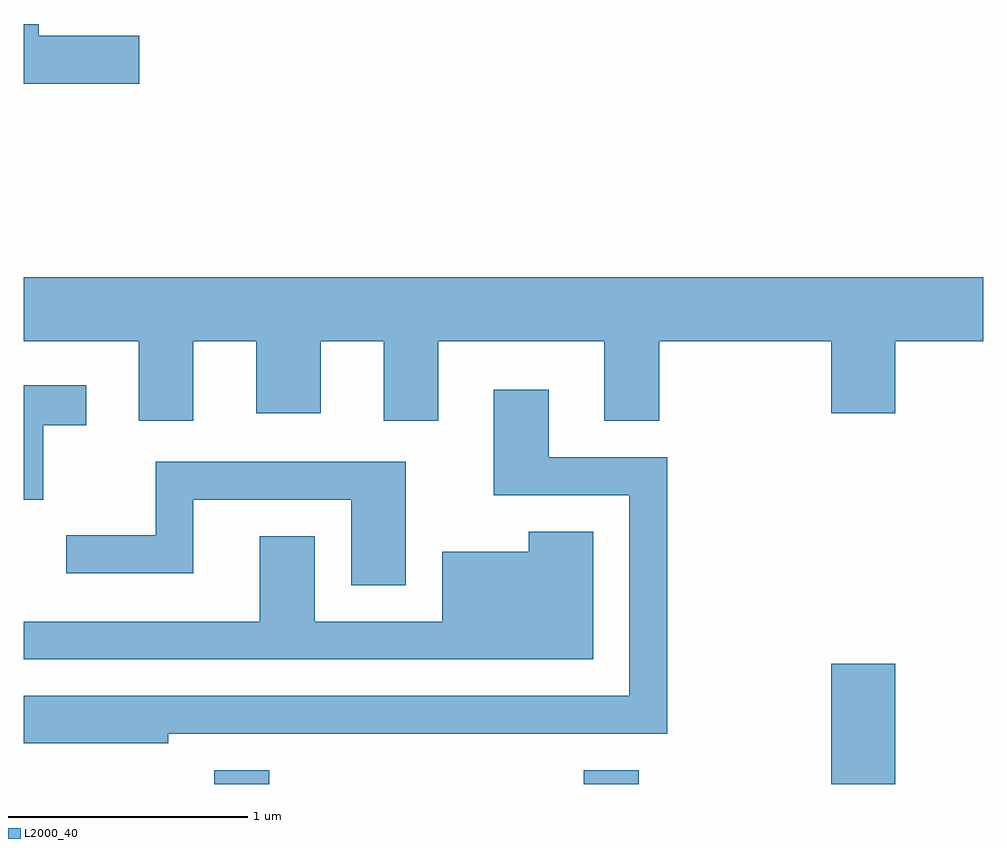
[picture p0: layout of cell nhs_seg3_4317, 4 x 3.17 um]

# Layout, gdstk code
import gdstk
lib = gdstk.Library(unit=1e-6, precision=1e-09)
def R(c, l, rs):  # rectangles x0, y0, x1, y1
    for r in rs: c.add(gdstk.rectangle(r[:2], r[2:], *l))
def P(c, l, *ps):  # polygons
    for p in ps: c.add(gdstk.Polygon(p, *l))
L2000_40 = (2000, 40)

nhs_seg3_4317 = lib.new_cell('nhs_seg3_4317')
R(nhs_seg3_4317, L2000_40, [(312.406,1181.892,312.634,1181.949), (313.946,1181.892,314.174,1181.949), (314.976,1181.892,315.244,1182.394)])
P(nhs_seg3_4317, L2000_40, [(312.094,1185.009),(311.674,1185.009),(311.674,1185.059),(311.611,1185.059),(311.611,1184.811),(312.094,1184.811)],
  [(312.319,1183.736),(312.581,1183.736),(312.581,1183.436),(312.849,1183.436),(312.849,1183.736),(313.111,1183.736),(313.111,1183.406),(313.339,1183.406),(313.339,1183.736),(314.031,1183.736),(314.031,1183.406),(314.259,1183.406),(314.259,1183.736),(314.976,1183.736),(314.976,1183.436),(315.244,1183.436),(315.244,1183.736),(315.611,1183.736),(315.611,1184.004),(311.611,1184.004),(311.611,1183.736),(312.091,1183.736),(312.091,1183.406),(312.319,1183.406)],
  [(311.694,1183.386),(311.873,1183.386),(311.873,1183.554),(311.611,1183.554),(311.611,1183.076),(311.694,1183.076)],
  [(312.214,1182.101),(314.294,1182.101),(314.294,1183.254),(313.799,1183.254),(313.799,1183.534),(313.571,1183.534),(313.571,1183.096),(314.136,1183.096),(314.136,1182.259),(311.611,1182.259),(311.611,1182.061),(312.214,1182.061)],
  [(313.204,1183.234),(312.161,1183.234),(312.161,1182.929),(311.788,1182.929),(311.788,1182.771),(312.319,1182.771),(312.319,1183.076),(312.976,1183.076),(312.976,1182.721),(313.204,1182.721)],
  [(313.984,1182.944),(313.716,1182.944),(313.716,1182.859),(313.356,1182.859),(313.356,1182.569),(312.824,1182.569),(312.824,1182.924),(312.596,1182.924),(312.596,1182.569),(311.611,1182.569),(311.611,1182.411),(313.984,1182.411)])

lib.write_gds('nhs_seg3_4317.gds')
